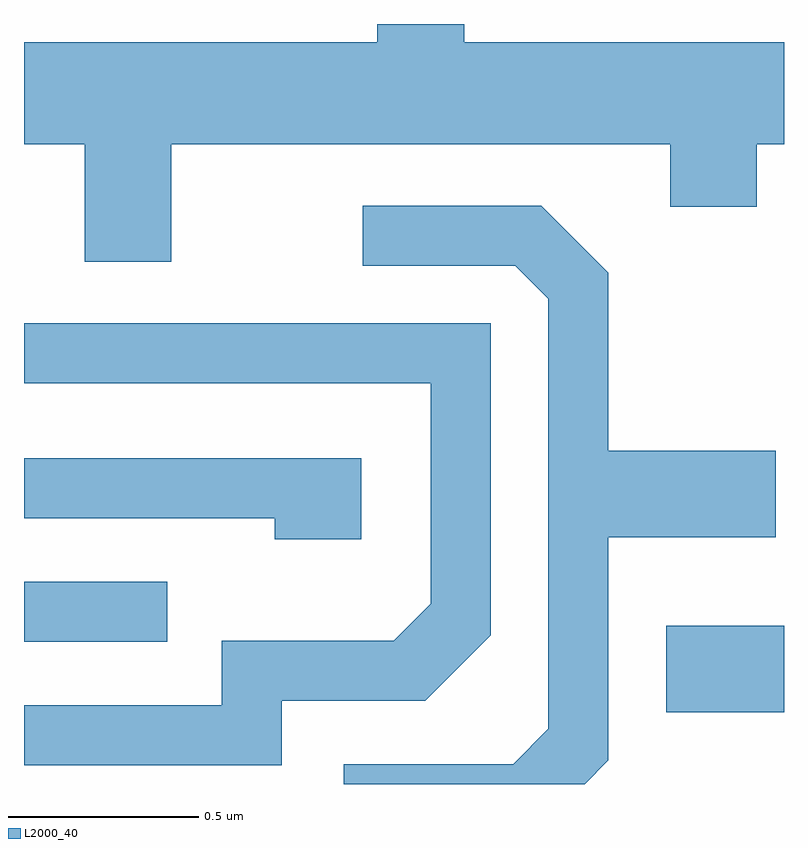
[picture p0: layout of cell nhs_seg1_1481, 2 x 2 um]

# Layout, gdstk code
import gdstk
lib = gdstk.Library(unit=1e-6, precision=1e-09)
def R(c, l, rs):  # rectangles x0, y0, x1, y1
    for r in rs: c.add(gdstk.rectangle(r[:2], r[2:], *l))
def P(c, l, *ps):  # polygons
    for p in ps: c.add(gdstk.Polygon(p, *l))
L2000_40 = (2000, 40)

nhs_seg1_1481 = lib.new_cell('nhs_seg1_1481')
R(nhs_seg1_1481, L2000_40, [(197.301,966.901,197.611,967.129), (195.611,967.086,195.988,967.244)])
P(nhs_seg1_1481, L2000_40, [(195.999,968.396),(197.311,968.396),(197.311,968.231),(197.539,968.231),(197.539,968.396),(197.611,968.396),(197.611,968.664),(196.769,968.664),(196.769,968.712),(196.541,968.712),(196.541,968.664),(195.611,968.664),(195.611,968.396),(195.771,968.396),(195.771,968.086),(195.999,968.086)],
  [(197.149,966.774),(197.149,967.361),(197.589,967.361),(197.589,967.589),(197.149,967.589),(197.149,968.057),(196.972,968.234),(196.503,968.234),(196.503,968.076),(196.904,968.076),(196.991,967.989),(196.991,966.857),(196.899,966.764),(196.453,966.764),(196.453,966.712),(197.087,966.712)],
  [(196.289,966.931),(196.667,966.931),(196.839,967.104),(196.839,967.924),(195.611,967.924),(195.611,967.766),(196.681,967.766),(196.681,967.187),(196.584,967.089),(196.131,967.089),(196.131,966.919),(195.611,966.919),(195.611,966.761),(196.289,966.761)],
  [(196.499,967.569),(195.611,967.569),(195.611,967.411),(196.271,967.411),(196.271,967.356),(196.499,967.356)])

lib.write_gds('nhs_seg1_1481.gds')
